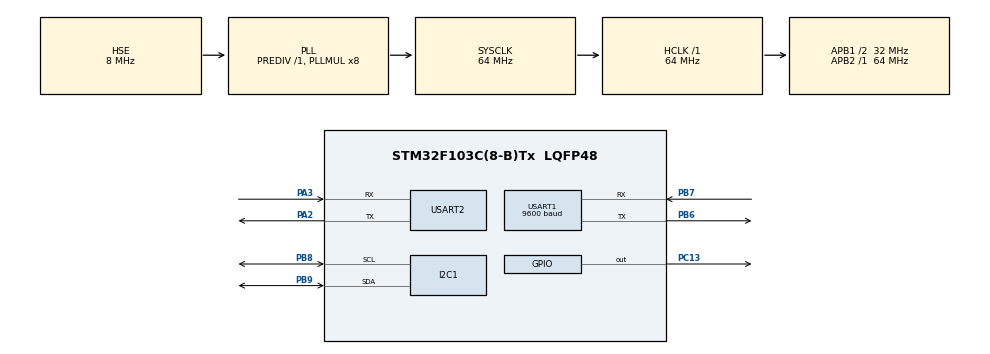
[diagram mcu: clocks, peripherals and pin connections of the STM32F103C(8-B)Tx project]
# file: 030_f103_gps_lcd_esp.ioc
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Mcu.Family=STM32F1
Mcu.Name=STM32F103C(8-B)Tx
Mcu.Package=LQFP48
NVIC.PriorityGroup=NVIC_PRIORITYGROUP_4
NVIC.USART1_IRQn=true\:0\:0\:false\:false\:true\:true\:true\:true
NVIC.USART2_IRQn=true\:0\:0\:false\:false\:true\:true\:true\:true
PA13.Mode=Serial_Wire
PA13.Signal=SYS_JTMS-SWDIO
PA14.Mode=Serial_Wire
PA14.Signal=SYS_JTCK-SWCLK
PA2.Mode=Asynchronous
PA2.Signal=USART2_TX
PA3.Mode=Asynchronous
PA3.Signal=USART2_RX
PB6.Mode=Asynchronous
PB6.Signal=USART1_TX
PB7.Mode=Asynchronous
PB7.Signal=USART1_RX
PB8.Mode=I2C
PB8.Signal=I2C1_SCL
PB9.Mode=I2C
PB9.Signal=I2C1_SDA
PC13-TAMPER-RTC.PinState=GPIO_PIN_SET
PC13-TAMPER-RTC.Signal=GPIO_Output
PD0-OSC_IN.Mode=HSE-External-Oscillator
PD0-OSC_IN.Signal=RCC_OSC_IN
PD1-OSC_OUT.Mode=HSE-External-Oscillator
PD1-OSC_OUT.Signal=RCC_OSC_OUT
ProjectManager.HeapSize=0x200
ProjectManager.StackSize=0x400
ProjectManager.TargetToolchain=STM32CubeIDE
RCC.AHBFreq_Value=64000000
RCC.APB1CLKDivider=RCC_HCLK_DIV2
RCC.APB1Freq_Value=32000000
RCC.APB1TimFreq_Value=64000000
RCC.APB2Freq_Value=64000000
RCC.APB2TimFreq_Value=64000000
RCC.HCLKFreq_Value=64000000
RCC.PLLMUL=RCC_PLL_MUL8
RCC.PLLSourceVirtual=RCC_PLLSOURCE_HSE
RCC.SYSCLKFreq_VALUE=64000000
RCC.SYSCLKSource=RCC_SYSCLKSOURCE_PLLCLK
RCC.USBFreq_Value=64000000
USART1.BaudRate=9600
USART1.VirtualMode=VM_ASYNC
USART2.VirtualMode=VM_ASYNC
board=custom

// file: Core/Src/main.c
/* USER CODE BEGIN Header */
/**
 ******************************************************************************
 * @file           : main.c
 * @brief          : Main program body
 ******************************************************************************
 * @attention
 *
 * Copyright (c) 2023 STMicroelectronics.
 * All rights reserved.
 *
 * This software is licensed under terms that can be found in the LICENSE file
 * in the root directory of this software component.
 * If no LICENSE file comes with this software, it is provided AS-IS.
 *
 ******************************************************************************
 */
/* USER CODE END Header */
#include "main.h"

/* USER CODE BEGIN Includes */
#include "UartRingbuffer_multi.h"
#include "NMEA.h"
#include "i2c-lcd.h"
#include <stdio.h>
#include <string.h>
#include "ESP8266_HAL.h"
/* USER CODE END Includes */

I2C_HandleTypeDef hi2c1;

UART_HandleTypeDef huart1;
UART_HandleTypeDef huart2;

/* USER CODE BEGIN PV */
#define gps_uart &huart1 // gps_uart
#define wifi_uart &huart2 // wifi_uart
#define WIFI_SSID "Tho" // Your wifi SSID
#define WIFI_PASSWORD "123456789" // Your wifi password
#define API_KEY "123456789" // Your own Thingspeak API key
char GGA[100];
char RMC[100];
GPSSTRUCT gpsData;
int flagGGA = 0, flagRMC = 0;
char lcdBuffer[50];
int VCCTimeout = 5000; // GGA or RMC will not be received if the VCC is not sufficient
uint32_t master_count = 0;
uint8_t master_toggle = 0;
uint8_t master_atcnt = 0;
uint8_t prev_atcnt = 0;
float Value_Buf[2];
uint16_t test_timeout=0;
/* USER CODE END PV */

void SystemClock_Config(void);
static void MX_GPIO_Init(void);
static void MX_I2C1_Init(void);
static void MX_USART1_UART_Init(void);
static void MX_USART2_UART_Init(void);
/* USER CODE BEGIN PFP */
void led_on() {
	HAL_GPIO_WritePin(GPIOC, GPIO_PIN_13, GPIO_PIN_SET);
}
void led_off() {
	HAL_GPIO_WritePin(GPIOC, GPIO_PIN_13, GPIO_PIN_RESET);
}
/* USER CODE END PFP */

int main(void)
{

  /* MCU Configuration--------------------------------------------------------*/

  /* Reset of all peripherals, Initializes the Flash interface and the Systick. */
  HAL_Init();

  /* Configure the system clock */
  SystemClock_Config();

  /* Initialize all configured peripherals */
  MX_GPIO_Init();
  MX_I2C1_Init();
  MX_USART1_UART_Init();
  MX_USART2_UART_Init();
  /* USER CODE BEGIN 2 */
	lcd_init();
	Ringbuf_init();
	HAL_Delay(500);
	ESP_Init(WIFI_SSID, WIFI_PASSWORD);
  /* USER CODE END 2 */

  /* Infinite loop */
  /* USER CODE BEGIN WHILE */
	while (1) {
		HAL_Delay(100);
		if (master_count++ > 10000)
			master_count = 0;
		master_toggle = (master_count / 10) % 2;
		if (master_toggle == 0)
			led_off();
		else
			led_on();
    /* USER CODE END WHILE */

    /* USER CODE BEGIN 3 */
		if (Wait_for("GGA", gps_uart) == 1) {
			VCCTimeout = 5000; // Reset the VCC Timeout indicating the GGA is being received
			Copy_upto("*", GGA, gps_uart);
			if (decodeGGA(GGA, &gpsData.ggastruct) == 0) {
				flagGGA = 2;  // 2 indicates the data is valid
//				led_on();
			} else {
				flagGGA = 1;  // 1 indicates the data is invalid
//				led_off();
			}
		}
		if (Wait_for("RMC", gps_uart) == 1) {
			VCCTimeout = 5000; // Reset the VCC Timeout indicating the RMC is being received
			Copy_upto("*", RMC, gps_uart);
			if (decodeRMC(RMC, &gpsData.rmcstruct) == 0) {
				flagRMC = 2;  // 2 indicates the data is valid
//				led_on();
			} else {
				flagRMC = 1;  // 1 indicates the data is invalid
//				led_off();
			}
		}
		if ((flagGGA == 2) | (flagRMC == 2)) {
#if(0)
		//			lcd_blank();

					lcd_put_cur(0, 0);
					memset(lcdBuffer, '\0', 50);
					sprintf(lcdBuffer, "%02d:%02d:%02d, %02d%02d%02d",
							gpsData.ggastruct.tim.hour, gpsData.ggastruct.tim.min,
							gpsData.ggastruct.tim.sec, gpsData.rmcstruct.date.Day,
							gpsData.rmcstruct.date.Mon, gpsData.rmcstruct.date.Yr);
					lcd_send_string(lcdBuffer);

					lcd_put_cur(1, 0);
					memset(lcdBuffer, '\0', 50);
			#if(0)
					sprintf(lcdBuffer, "%.2f%c, %.2f%c  ",
							gpsData.ggastruct.lcation.latitude,
							gpsData.ggastruct.lcation.NS,
							gpsData.ggastruct.lcation.longitude,
							gpsData.ggastruct.lcation.EW);
			#else
					sprintf(lcdBuffer, "%.4f %.4f ",
							gpsData.ggastruct.lcation.test1,
							gpsData.ggastruct.lcation.test2);
			#endif
					lcd_send_string(lcdBuffer);
#else
			//			lcd_blank();

			memset(lcdBuffer, '\0', 50);
			lcd_put_cur(0, 0);
			sprintf(lcdBuffer, "%.6f %c    ", gpsData.ggastruct.lcation.test1,
					gpsData.ggastruct.lcation.NS);
			lcd_send_string(lcdBuffer);

			memset(lcdBuffer, '\0', 50);
			lcd_put_cur(1, 0);
			sprintf(lcdBuffer, "%.6f %c    ", gpsData.ggastruct.lcation.test2,
					gpsData.ggastruct.lcation.EW);
			lcd_send_string(lcdBuffer);
#endif
		} else if ((flagGGA == 1) | (flagRMC == 1)) {
			// Instead of clearing the display, it's better if we print spaces.
			// This will avoid the "refreshing" part
			//			lcd_blank();
			lcd_put_cur(0, 0);
			lcd_send_string("   NO FIX YET   ");
			lcd_put_cur(1, 0);
			lcd_send_string("   Please wait  ");
		}
		if (VCCTimeout <= 0) {
			VCCTimeout = 5000;  // Reset the timeout
			//reset flags
			flagGGA = flagRMC = 0;
			// You are here means the VCC is less, or maybe there is some connection issue
			// Check the VCC, also you can try connecting to the external 5V
			//			lcd_blank();
			lcd_put_cur(0, 0);
			lcd_send_string("    VCC Issue   ");
			lcd_put_cur(1, 0);
			lcd_send_string("Check Connection");
		}
		// Send AT commands, feed data to Thingspeak server
		master_atcnt = master_count / 10 / 15;
#define check1 ((flagGGA==2)|(flagRMC==2))&(prev_atcnt < master_atcnt)
		if (check1) {
			Value_Buf[0] = gpsData.ggastruct.lcation.test1;
			Value_Buf[1] = gpsData.ggastruct.lcation.test2;
			ESP_Send_Multi(API_KEY, 2, Value_Buf);
		}
		prev_atcnt = master_atcnt;
	}
  /* USER CODE END 3 */
}

void SystemClock_Config(void)
{
  RCC_OscInitTypeDef RCC_OscInitStruct = {0};
  RCC_ClkInitTypeDef RCC_ClkInitStruct = {0};

  /** Initializes the RCC Oscillators according to the specified parameters
  * in the RCC_OscInitTypeDef structure.
  */
  RCC_OscInitStruct.OscillatorType = RCC_OSCILLATORTYPE_HSE;
  RCC_OscInitStruct.HSEState = RCC_HSE_ON;
  RCC_OscInitStruct.HSEPredivValue = RCC_HSE_PREDIV_DIV1;
  RCC_OscInitStruct.HSIState = RCC_HSI_ON;
  RCC_OscInitStruct.PLL.PLLState = RCC_PLL_ON;
  RCC_OscInitStruct.PLL.PLLSource = RCC_PLLSOURCE_HSE;
  RCC_OscInitStruct.PLL.PLLMUL = RCC_PLL_MUL8;
  if (HAL_RCC_OscConfig(&RCC_OscInitStruct) != HAL_OK)
  {
    Error_Handler();
  }

  /** Initializes the CPU, AHB and APB buses clocks
  */
  RCC_ClkInitStruct.ClockType = RCC_CLOCKTYPE_HCLK|RCC_CLOCKTYPE_SYSCLK
                              |RCC_CLOCKTYPE_PCLK1|RCC_CLOCKTYPE_PCLK2;
  RCC_ClkInitStruct.SYSCLKSource = RCC_SYSCLKSOURCE_PLLCLK;
  RCC_ClkInitStruct.AHBCLKDivider = RCC_SYSCLK_DIV1;
  RCC_ClkInitStruct.APB1CLKDivider = RCC_HCLK_DIV2;
  RCC_ClkInitStruct.APB2CLKDivider = RCC_HCLK_DIV1;

  if (HAL_RCC_ClockConfig(&RCC_ClkInitStruct, FLASH_LATENCY_2) != HAL_OK)
  {
    Error_Handler();
  }
}

static void MX_I2C1_Init(void)
{

  hi2c1.Instance = I2C1;
  hi2c1.Init.ClockSpeed = 100000;
  hi2c1.Init.DutyCycle = I2C_DUTYCYCLE_2;
  hi2c1.Init.OwnAddress1 = 0;
  hi2c1.Init.AddressingMode = I2C_ADDRESSINGMODE_7BIT;
  hi2c1.Init.DualAddressMode = I2C_DUALADDRESS_DISABLE;
  hi2c1.Init.OwnAddress2 = 0;
  hi2c1.Init.GeneralCallMode = I2C_GENERALCALL_DISABLE;
  hi2c1.Init.NoStretchMode = I2C_NOSTRETCH_DISABLE;
  if (HAL_I2C_Init(&hi2c1) != HAL_OK)
  {
    Error_Handler();
  }

}

static void MX_USART1_UART_Init(void)
{

  huart1.Instance = USART1;
  huart1.Init.BaudRate = 9600;
  huart1.Init.WordLength = UART_WORDLENGTH_8B;
  huart1.Init.StopBits = UART_STOPBITS_1;
  huart1.Init.Parity = UART_PARITY_NONE;
  huart1.Init.Mode = UART_MODE_TX_RX;
  huart1.Init.HwFlowCtl = UART_HWCONTROL_NONE;
  huart1.Init.OverSampling = UART_OVERSAMPLING_16;
  if (HAL_UART_Init(&huart1) != HAL_OK)
  {
    Error_Handler();
  }

}

static void MX_USART2_UART_Init(void)
{

  huart2.Instance = USART2;
  huart2.Init.BaudRate = 115200;
  huart2.Init.WordLength = UART_WORDLENGTH_8B;
  huart2.Init.StopBits = UART_STOPBITS_1;
  huart2.Init.Parity = UART_PARITY_NONE;
  huart2.Init.Mode = UART_MODE_TX_RX;
  huart2.Init.HwFlowCtl = UART_HWCONTROL_NONE;
  huart2.Init.OverSampling = UART_OVERSAMPLING_16;
  if (HAL_UART_Init(&huart2) != HAL_OK)
  {
    Error_Handler();
  }

}

static void MX_GPIO_Init(void)
{
  GPIO_InitTypeDef GPIO_InitStruct = {0};

  /* GPIO Ports Clock Enable */
  __HAL_RCC_GPIOC_CLK_ENABLE();
  __HAL_RCC_GPIOD_CLK_ENABLE();
  __HAL_RCC_GPIOA_CLK_ENABLE();
  __HAL_RCC_GPIOB_CLK_ENABLE();

  /*Configure GPIO pin Output Level */
  HAL_GPIO_WritePin(GPIOC, GPIO_PIN_13, GPIO_PIN_SET);

  /*Configure GPIO pin : PC13 */
  GPIO_InitStruct.Pin = GPIO_PIN_13;
  GPIO_InitStruct.Mode = GPIO_MODE_OUTPUT_PP;
  GPIO_InitStruct.Pull = GPIO_NOPULL;
  GPIO_InitStruct.Speed = GPIO_SPEED_FREQ_LOW;
  HAL_GPIO_Init(GPIOC, &GPIO_InitStruct);

}

void Error_Handler(void)
{
	__disable_irq();
	while (1) {
	}
}
